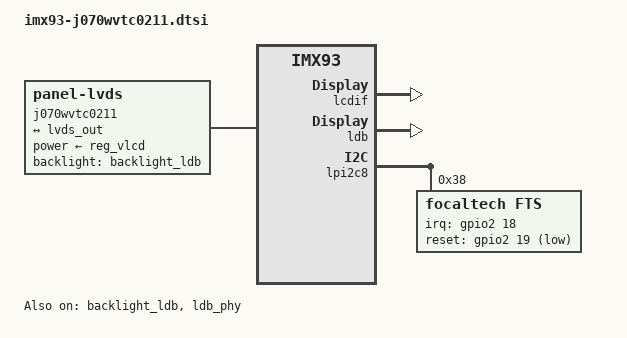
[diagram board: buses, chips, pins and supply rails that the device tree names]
/*
 * Copyright (C) 2024 F&S Elektronik Systeme GmbH
 *
 * This program is free software; you can redistribute it and/or modify
 * it under the terms of the GNU General Public License version 2 as
 * published by the Free Software Foundation.
 */
/ {

	lvds_panel {
		compatible = "panel-lvds";
		power-supply = <&reg_vlcd>;
		backlight = <&backlight_ldb>;
		data-mapping = "vesa-24";
		label = "j070wvtc0211";
		width-mm = <154>;
		height-mm = <85>;
		status = "okay";

		panel-timing {
			clock-frequency = <33300000>;
			hactive = <800>;
			vactive = <480>;
			hback-porch = <46>;
			hfront-porch = <209>;
			hsync-len = <1>;
			vback-porch = <23>;
			vfront-porch = <11>;
			vsync-len = <1>;
			de-active = <1>;
			vsync-active = <1>;
			hsync-active = <1>;
		};

		port {
			panel_lvds_in: endpoint {
				remote-endpoint = <&lvds_out>;
			};
		};
	};
};

&reg_bl_on {
	status = "okay";
};

&reg_vlcd {
	status = "okay";
};

&backlight_ldb {
	status = "okay";
};

&lcdif {
	status = "okay";
	assigned-clock-rates = <1400000000>, <33300000>, <400000000>, <133333333>;
};

&ldb_phy {
	status = "okay";
};

&ldb {
	status = "okay";

	lvds-channel@0 {
		fsl,data-mapping = "spwg";
		fsl,data-width = <24>;
		status = "okay";

		port@1 {
			reg = <1>;

			lvds_out: endpoint {
				remote-endpoint = <&panel_lvds_in>;
			};
		};
	};
};

&lpi2c8 {
	status = "okay";
	/* touch I2C */
	focaltech@38 {
		compatible = "focaltech,fts";
		reg = <0x38>;
		interrupt-parent = <&gpio2>;
		interrupts = <18 IRQ_TYPE_EDGE_FALLING>;
		focaltech,irq-gpio = <&gpio2 18 IRQ_TYPE_EDGE_FALLING>;
#ifdef CONFIG_PICOCOREMX93_INVERTED_XY
		focaltech,touchscreen-inverted-x;
		focaltech,touchscreen-inverted-y;
#endif
		focaltech,reset-gpio = <&gpio2 19 GPIO_ACTIVE_LOW>;
		focaltech,num-max-touches = <10>;
		focaltech,display-coords = <0 0 800 480>;
	};
};
